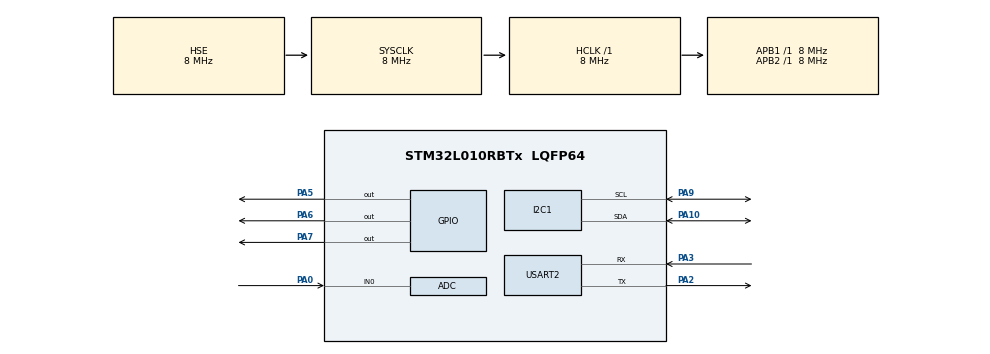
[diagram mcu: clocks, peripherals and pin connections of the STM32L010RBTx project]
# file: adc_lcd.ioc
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I2C1.Timing=0x2000090E
Mcu.Family=STM32L0
Mcu.Name=STM32L010RBTx
Mcu.Package=LQFP64
PA0.Mode=IN0
PA0.Signal=ADC_IN0
PA10.Mode=I2C
PA10.Signal=I2C1_SDA
PA13.Mode=Serial_Wire
PA13.Signal=SYS_SWDIO
PA14.Mode=Serial_Wire
PA14.Signal=SYS_SWCLK
PA2.Mode=Asynchronous
PA2.Signal=USART2_TX
PA3.Mode=Asynchronous
PA3.Signal=USART2_RX
PA5.Signal=GPIO_Output
PA6.Signal=GPIO_Output
PA7.Signal=GPIO_Output
PA9.Mode=I2C
PA9.Signal=I2C1_SCL
PH0-OSC_IN.Mode=HSE-External-Oscillator
PH0-OSC_IN.Signal=RCC_OSC_IN
PH1-OSC_OUT.Mode=HSE-External-Oscillator
PH1-OSC_OUT.Signal=RCC_OSC_OUT
ProjectManager.HeapSize=0x200
ProjectManager.StackSize=0x400
ProjectManager.TargetToolchain=STM32CubeIDE
RCC.AHBFreq_Value=8000000
RCC.APB1Freq_Value=8000000
RCC.APB1TimFreq_Value=8000000
RCC.APB2Freq_Value=8000000
RCC.APB2TimFreq_Value=8000000
RCC.HCLKFreq_Value=8000000
RCC.HSE_VALUE=8000000
RCC.HSI16_VALUE=16000000
RCC.HSI_VALUE=16000000
RCC.LSE_VALUE=32768
RCC.MSI_VALUE=2097000
RCC.PLLSourceVirtual=RCC_PLLSOURCE_HSE
RCC.SYSCLKFreq_VALUE=8000000
RCC.SYSCLKSource=RCC_SYSCLKSOURCE_HSE
RCC.VCOOutputFreq_Value=24000000
USART2.VirtualMode-Asynchronous=VM_ASYNC
board=custom

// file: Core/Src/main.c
/* USER CODE BEGIN Header */
/**
  ******************************************************************************
  * @file           : main.c
  * @brief          : Main program body
  ******************************************************************************
  * @attention
  *
  * <h2><center>&copy; Copyright (c) 2020 STMicroelectronics.
  * All rights reserved.</center></h2>
  *
  * This software component is licensed by ST under BSD 3-Clause license,
  * the "License"; You may not use this file except in compliance with the
  * License. You may obtain a copy of the License at:
  *                        opensource.org/licenses/BSD-3-Clause
  *
  ******************************************************************************
  */
/* USER CODE END Header */
#include "main.h"

/* USER CODE BEGIN PD */
uint32_t data=0;
volatile float resistance=0;
char msg[100];
/* USER CODE END PD */

ADC_HandleTypeDef hadc;

I2C_HandleTypeDef hi2c1;

UART_HandleTypeDef huart2;

void SystemClock_Config(void);
static void MX_GPIO_Init(void);
static void MX_ADC_Init(void);
static void MX_USART2_UART_Init(void);
static void MX_I2C1_Init(void);

int main(void)
{

  /* MCU Configuration--------------------------------------------------------*/

  /* Reset of all peripherals, Initializes the Flash interface and the Systick. */
  HAL_Init();

  /* Configure the system clock */
  SystemClock_Config();

  /* Initialize all configured peripherals */
  MX_GPIO_Init();
  MX_ADC_Init();
  MX_USART2_UART_Init();
  MX_I2C1_Init();

  /* Infinite loop */
  /* USER CODE BEGIN WHILE */
  while (1)
  {HAL_ADC_Start(&hadc);
	//Wait for conversion complete
	if(HAL_ADC_PollForConversion(&hadc,HAL_MAX_DELAY)==HAL_OK)
	{
		//Get Data
// we have 10k ohm pot
		data=HAL_ADC_GetValue(&hadc);
		resistance= 2.44140625*data;
		sprintf(msg, "Resistance: %f\r\n", resistance);
		HAL_UART_Transmit(&huart2, (uint8_t*) msg, strlen(msg), HAL_MAX_DELAY);
		HAL_Delay(500);
		if (resistance<=2500){
							HAL_GPIO_WritePin(GPIOA, GPIO_PIN_5, 1);
							HAL_GPIO_WritePin(GPIOA, GPIO_PIN_6, 0);
							HAL_GPIO_WritePin(GPIOA, GPIO_PIN_7, 0);
						}
						else if (resistance>=2501 && resistance<=5000){
							HAL_GPIO_WritePin(GPIOA, GPIO_PIN_5, 0);
							HAL_GPIO_WritePin(GPIOA, GPIO_PIN_6, 1);
							HAL_GPIO_WritePin(GPIOA, GPIO_PIN_7, 0);

						}else if (resistance>=5001 && resistance<=7500){
							HAL_GPIO_WritePin(GPIOA, GPIO_PIN_5, 0);
							HAL_GPIO_WritePin(GPIOA, GPIO_PIN_6, 0);
							HAL_GPIO_WritePin(GPIOA, GPIO_PIN_7, 1);
						}else {
							HAL_GPIO_WritePin(GPIOA, GPIO_PIN_5, 1);
							HAL_GPIO_WritePin(GPIOA, GPIO_PIN_6, 1);
							HAL_GPIO_WritePin(GPIOA, GPIO_PIN_7, 1);

						}

	}
	//Stop conversion
	HAL_ADC_Stop(&hadc);
	HAL_Delay(10);

    /* USER CODE END WHILE */

  }
}

void SystemClock_Config(void)
{
  RCC_OscInitTypeDef RCC_OscInitStruct = {0};
  RCC_ClkInitTypeDef RCC_ClkInitStruct = {0};
  RCC_PeriphCLKInitTypeDef PeriphClkInit = {0};

  /** Configure the main internal regulator output voltage
  */
  __HAL_PWR_VOLTAGESCALING_CONFIG(PWR_REGULATOR_VOLTAGE_SCALE1);
  /** Initializes the RCC Oscillators according to the specified parameters
  * in the RCC_OscInitTypeDef structure.
  */
  RCC_OscInitStruct.OscillatorType = RCC_OSCILLATORTYPE_HSE;
  RCC_OscInitStruct.HSEState = RCC_HSE_ON;
  RCC_OscInitStruct.PLL.PLLState = RCC_PLL_NONE;
  if (HAL_RCC_OscConfig(&RCC_OscInitStruct) != HAL_OK)
  {
    Error_Handler();
  }
  /** Initializes the CPU, AHB and APB buses clocks
  */
  RCC_ClkInitStruct.ClockType = RCC_CLOCKTYPE_HCLK|RCC_CLOCKTYPE_SYSCLK
                              |RCC_CLOCKTYPE_PCLK1|RCC_CLOCKTYPE_PCLK2;
  RCC_ClkInitStruct.SYSCLKSource = RCC_SYSCLKSOURCE_HSE;
  RCC_ClkInitStruct.AHBCLKDivider = RCC_SYSCLK_DIV1;
  RCC_ClkInitStruct.APB1CLKDivider = RCC_HCLK_DIV1;
  RCC_ClkInitStruct.APB2CLKDivider = RCC_HCLK_DIV1;

  if (HAL_RCC_ClockConfig(&RCC_ClkInitStruct, FLASH_LATENCY_0) != HAL_OK)
  {
    Error_Handler();
  }
  PeriphClkInit.PeriphClockSelection = RCC_PERIPHCLK_USART2|RCC_PERIPHCLK_I2C1;
  PeriphClkInit.Usart2ClockSelection = RCC_USART2CLKSOURCE_PCLK1;
  PeriphClkInit.I2c1ClockSelection = RCC_I2C1CLKSOURCE_PCLK1;
  if (HAL_RCCEx_PeriphCLKConfig(&PeriphClkInit) != HAL_OK)
  {
    Error_Handler();
  }
}

static void MX_ADC_Init(void)
{

  ADC_ChannelConfTypeDef sConfig = {0};

  /** Configure the global features of the ADC (Clock, Resolution, Data Alignment and number of conversion)
  */
  hadc.Instance = ADC1;
  hadc.Init.OversamplingMode = DISABLE;
  hadc.Init.ClockPrescaler = ADC_CLOCK_SYNC_PCLK_DIV1;
  hadc.Init.Resolution = ADC_RESOLUTION_12B;
  hadc.Init.SamplingTime = ADC_SAMPLETIME_1CYCLE_5;
  hadc.Init.ScanConvMode = ADC_SCAN_DIRECTION_FORWARD;
  hadc.Init.DataAlign = ADC_DATAALIGN_RIGHT;
  hadc.Init.ContinuousConvMode = DISABLE;
  hadc.Init.DiscontinuousConvMode = DISABLE;
  hadc.Init.ExternalTrigConvEdge = ADC_EXTERNALTRIGCONVEDGE_NONE;
  hadc.Init.ExternalTrigConv = ADC_SOFTWARE_START;
  hadc.Init.DMAContinuousRequests = DISABLE;
  hadc.Init.EOCSelection = ADC_EOC_SINGLE_CONV;
  hadc.Init.Overrun = ADC_OVR_DATA_PRESERVED;
  hadc.Init.LowPowerAutoWait = DISABLE;
  hadc.Init.LowPowerFrequencyMode = DISABLE;
  hadc.Init.LowPowerAutoPowerOff = DISABLE;
  if (HAL_ADC_Init(&hadc) != HAL_OK)
  {
    Error_Handler();
  }
  /** Configure for the selected ADC regular channel to be converted.
  */
  sConfig.Channel = ADC_CHANNEL_0;
  sConfig.Rank = ADC_RANK_CHANNEL_NUMBER;
  if (HAL_ADC_ConfigChannel(&hadc, &sConfig) != HAL_OK)
  {
    Error_Handler();
  }

}

static void MX_I2C1_Init(void)
{

  hi2c1.Instance = I2C1;
  hi2c1.Init.Timing = 0x2000090E;
  hi2c1.Init.OwnAddress1 = 0;
  hi2c1.Init.AddressingMode = I2C_ADDRESSINGMODE_7BIT;
  hi2c1.Init.DualAddressMode = I2C_DUALADDRESS_DISABLE;
  hi2c1.Init.OwnAddress2 = 0;
  hi2c1.Init.OwnAddress2Masks = I2C_OA2_NOMASK;
  hi2c1.Init.GeneralCallMode = I2C_GENERALCALL_DISABLE;
  hi2c1.Init.NoStretchMode = I2C_NOSTRETCH_DISABLE;
  if (HAL_I2C_Init(&hi2c1) != HAL_OK)
  {
    Error_Handler();
  }
  /** Configure Analogue filter
  */
  if (HAL_I2CEx_ConfigAnalogFilter(&hi2c1, I2C_ANALOGFILTER_ENABLE) != HAL_OK)
  {
    Error_Handler();
  }
  /** Configure Digital filter
  */
  if (HAL_I2CEx_ConfigDigitalFilter(&hi2c1, 0) != HAL_OK)
  {
    Error_Handler();
  }

}

static void MX_USART2_UART_Init(void)
{

  huart2.Instance = USART2;
  huart2.Init.BaudRate = 115200;
  huart2.Init.WordLength = UART_WORDLENGTH_8B;
  huart2.Init.StopBits = UART_STOPBITS_1;
  huart2.Init.Parity = UART_PARITY_NONE;
  huart2.Init.Mode = UART_MODE_TX_RX;
  huart2.Init.HwFlowCtl = UART_HWCONTROL_NONE;
  huart2.Init.OverSampling = UART_OVERSAMPLING_16;
  huart2.Init.OneBitSampling = UART_ONE_BIT_SAMPLE_DISABLE;
  huart2.AdvancedInit.AdvFeatureInit = UART_ADVFEATURE_NO_INIT;
  if (HAL_UART_Init(&huart2) != HAL_OK)
  {
    Error_Handler();
  }

}

static void MX_GPIO_Init(void)
{
  GPIO_InitTypeDef GPIO_InitStruct = {0};

  /* GPIO Ports Clock Enable */
  __HAL_RCC_GPIOH_CLK_ENABLE();
  __HAL_RCC_GPIOA_CLK_ENABLE();

  /*Configure GPIO pin Output Level */
  HAL_GPIO_WritePin(GPIOA, GPIO_PIN_5|GPIO_PIN_6|GPIO_PIN_7, GPIO_PIN_RESET);

  /*Configure GPIO pins : PA5 PA6 PA7 */
  GPIO_InitStruct.Pin = GPIO_PIN_5|GPIO_PIN_6|GPIO_PIN_7;
  GPIO_InitStruct.Mode = GPIO_MODE_OUTPUT_PP;
  GPIO_InitStruct.Pull = GPIO_NOPULL;
  GPIO_InitStruct.Speed = GPIO_SPEED_FREQ_LOW;
  HAL_GPIO_Init(GPIOA, &GPIO_InitStruct);

}

void Error_Handler(void)
{
}

/************************ (C) COPYRIGHT STMicroelectronics *****END OF FILE****/
